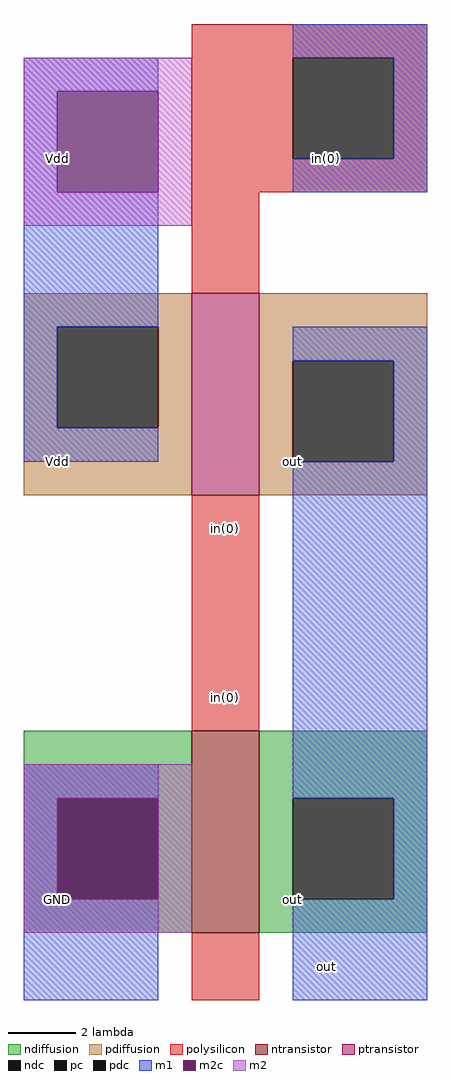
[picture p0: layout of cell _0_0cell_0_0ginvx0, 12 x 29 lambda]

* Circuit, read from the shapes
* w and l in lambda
.subckt _0_0cell_0_0ginvx0 GND Vdd in(0) out
M1 out in(0) GND VSUBS nfet w=6 l=2
M2 out in(0) Vdd NWELL pfet w=6 l=2
.ends

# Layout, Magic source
magic
tech sky130l
<< ndiffusion >>
rect 8 10 13 12
rect 8 7 9 10
rect 12 7 13 10
rect 8 6 13 7
rect 15 10 20 12
rect 15 7 16 10
rect 19 7 20 10
rect 15 6 20 7
<< ndc >>
rect 9 7 12 10
rect 16 7 19 10
<< ntransistor >>
rect 13 6 15 12
<< pdiffusion >>
rect 8 24 13 25
rect 8 21 9 24
rect 12 21 13 24
rect 8 19 13 21
rect 15 23 20 25
rect 15 20 16 23
rect 19 20 20 23
rect 15 19 20 20
<< pdc >>
rect 9 21 12 24
rect 16 20 19 23
<< ptransistor >>
rect 13 19 15 25
<< polysilicon >>
rect 13 32 20 33
rect 13 29 16 32
rect 19 29 20 32
rect 13 28 20 29
rect 13 25 15 28
rect 13 12 15 19
rect 13 4 15 6
<< pc >>
rect 16 29 19 32
<< m1 >>
rect 16 32 20 33
rect 8 31 12 32
rect 8 28 9 31
rect 19 29 20 32
rect 16 28 20 29
rect 8 24 12 28
rect 8 21 9 24
rect 8 20 12 21
rect 16 23 20 24
rect 19 20 20 23
rect 8 10 12 11
rect 8 7 9 10
rect 8 4 12 7
rect 16 10 20 20
rect 19 7 20 10
rect 16 4 20 7
<< m2c >>
rect 9 28 12 31
rect 9 7 12 10
<< m2 >>
rect 8 31 13 32
rect 8 28 9 31
rect 12 28 13 31
rect 8 27 13 28
rect 8 10 13 11
rect 8 7 9 10
rect 12 7 13 10
rect 8 6 13 7
<< labels >>
rlabel ndiffusion 16 7 16 7 3 out
rlabel pdiffusion 16 20 16 20 3 out
rlabel polysilicon 14 13 14 13 3 in(0)
rlabel polysilicon 14 18 14 18 3 in(0)
rlabel pdiffusion 9 20 9 20 3 Vdd
rlabel m1 17 5 17 5 3 out
rlabel m2 9 29 9 29 3 Vdd
rlabel m1 17 29 17 29 3 in(0)
rlabel ndiffusion 9 7 9 7 3 GND
<< end >>
